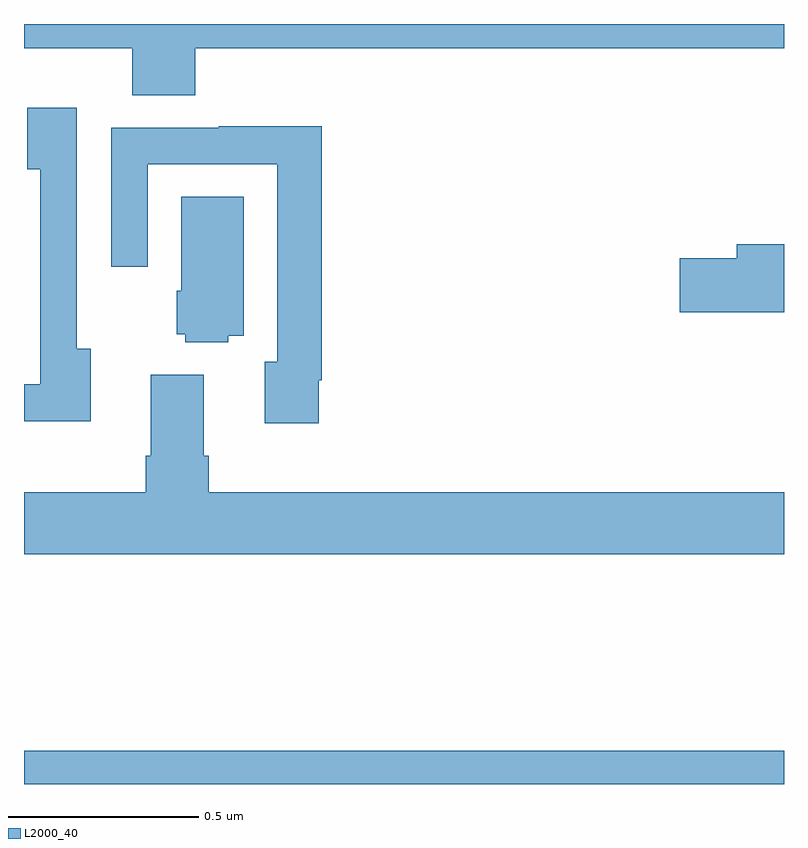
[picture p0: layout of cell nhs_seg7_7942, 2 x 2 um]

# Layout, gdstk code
import gdstk
lib = gdstk.Library(unit=1e-6, precision=1e-09)
def R(c, l, rs):  # rectangles x0, y0, x1, y1
    for r in rs: c.add(gdstk.rectangle(r[:2], r[2:], *l))
def P(c, l, *ps):  # polygons
    for p in ps: c.add(gdstk.Polygon(p, *l))
L2000_40 = (2000, 40)

nhs_seg7_7942 = lib.new_cell('nhs_seg7_7942')
R(nhs_seg7_7942, L2000_40, [(218,1012,220,1012.088)])
P(nhs_seg7_7942, L2000_40, [(218.45,1013.936),(220,1013.936),(220,1014),(218,1014),(218,1013.936),(218.285,1013.936),(218.285,1013.812),(218.45,1013.812)],
  [(218.176,1013.146),(218.139,1013.146),(218.139,1013.779),(218.009,1013.779),(218.009,1013.618),(218.043,1013.618),(218.043,1013.052),(218,1013.052),(218,1012.955),(218.176,1012.955)],
  [(218.776,1013.062),(218.783,1013.062),(218.783,1013.731),(218.513,1013.731),(218.513,1013.727),(218.229,1013.727),(218.229,1013.361),(218.325,1013.361),(218.325,1013.631),(218.667,1013.631),(218.667,1013.111),(218.633,1013.111),(218.633,1012.95),(218.776,1012.95)],
  [(218.538,1013.18),(218.578,1013.18),(218.578,1013.546),(218.414,1013.546),(218.414,1013.298),(218.402,1013.298),(218.402,1013.184),(218.424,1013.184),(218.424,1013.162),(218.538,1013.162)],
  [(220,1013.42),(219.875,1013.42),(219.875,1013.384),(219.726,1013.384),(219.726,1013.242),(220,1013.242)],
  [(220,1012.768),(218.486,1012.768),(218.486,1012.864),(218.473,1012.864),(218.473,1013.077),(218.333,1013.077),(218.333,1012.864),(218.321,1012.864),(218.321,1012.768),(218,1012.768),(218,1012.604),(220,1012.604)])

lib.write_gds('nhs_seg7_7942.gds')
